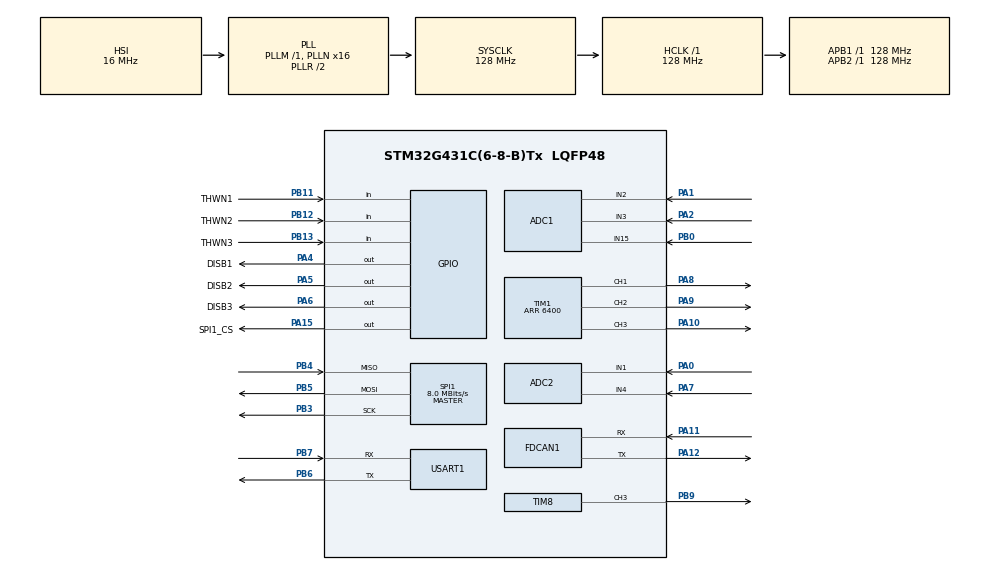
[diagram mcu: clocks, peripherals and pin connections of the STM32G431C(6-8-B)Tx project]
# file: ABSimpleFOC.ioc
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ADC1.EnableInjectedConversion=ENABLE
ADC1.EnableRegularConversion=DISABLE
ADC1.ExternalTrigInjecConv=ADC_EXTERNALTRIGINJEC_T1_TRGO2
ADC1.ExternalTrigInjecConvEdge=ADC_EXTERNALTRIGINJECCONV_EDGE_FALLING
ADC1.InjNumberOfConversion=3
ADC1.InjectedChannel-5\#ChannelInjectedConversion=ADC_CHANNEL_2
ADC1.InjectedChannel-6\#ChannelInjectedConversion=ADC_CHANNEL_15
ADC1.InjectedChannel-7\#ChannelInjectedConversion=ADC_CHANNEL_3
ADC1.InjectedOffsetNumber-5\#ChannelInjectedConversion=ADC_OFFSET_NONE
ADC1.InjectedOffsetNumber-6\#ChannelInjectedConversion=ADC_OFFSET_NONE
ADC1.InjectedOffsetNumber-7\#ChannelInjectedConversion=ADC_OFFSET_NONE
ADC1.InjectedRank-5\#ChannelInjectedConversion=1
ADC1.InjectedRank-6\#ChannelInjectedConversion=2
ADC1.InjectedRank-7\#ChannelInjectedConversion=3
ADC1.InjectedSamplingTime-5\#ChannelInjectedConversion=ADC_SAMPLETIME_24CYCLES_5
ADC1.InjectedSamplingTime-6\#ChannelInjectedConversion=ADC_SAMPLETIME_24CYCLES_5
ADC1.InjectedSamplingTime-7\#ChannelInjectedConversion=ADC_SAMPLETIME_24CYCLES_5
ADC1.Rank1_Channel=ADC_CHANNEL_2
ADC1.Rank2_Channel=ADC_CHANNEL_15
ADC1.Rank3_Channel=ADC_CHANNEL_3
ADC1.master=1
ADC2.EnableInjectedConversion=ENABLE
ADC2.EnableRegularConversion=DISABLE
ADC2.ExternalTrigInjecConv=ADC_EXTERNALTRIGINJEC_T1_TRGO2
ADC2.ExternalTrigInjecConvEdge=ADC_EXTERNALTRIGINJECCONV_EDGE_FALLING
ADC2.InjNumberOfConversion=2
ADC2.InjectedChannel-1\#ChannelInjectedConversion=ADC_CHANNEL_1
ADC2.InjectedChannel-2\#ChannelInjectedConversion=ADC_CHANNEL_4
ADC2.InjectedOffsetNumber-1\#ChannelInjectedConversion=ADC_OFFSET_NONE
ADC2.InjectedOffsetNumber-2\#ChannelInjectedConversion=ADC_OFFSET_NONE
ADC2.InjectedRank-1\#ChannelInjectedConversion=1
ADC2.InjectedRank-2\#ChannelInjectedConversion=2
ADC2.InjectedSamplingTime-1\#ChannelInjectedConversion=ADC_SAMPLETIME_24CYCLES_5
ADC2.InjectedSamplingTime-2\#ChannelInjectedConversion=ADC_SAMPLETIME_24CYCLES_5
ADC2.Rank1_Channel=ADC_CHANNEL_1
ADC2.Rank2_Channel=ADC_CHANNEL_4
Dma.Request0=TIM8_CH3
Dma.TIM8_CH3.0.Direction=DMA_MEMORY_TO_PERIPH
Dma.TIM8_CH3.0.EventEnable=DISABLE
Dma.TIM8_CH3.0.Instance=DMA1_Channel1
Dma.TIM8_CH3.0.MemDataAlignment=DMA_MDATAALIGN_HALFWORD
Dma.TIM8_CH3.0.MemInc=DMA_MINC_ENABLE
Dma.TIM8_CH3.0.Mode=DMA_NORMAL
Dma.TIM8_CH3.0.PeriphDataAlignment=DMA_PDATAALIGN_HALFWORD
Dma.TIM8_CH3.0.PeriphInc=DMA_PINC_DISABLE
Dma.TIM8_CH3.0.Polarity=HAL_DMAMUX_REQ_GEN_RISING
Dma.TIM8_CH3.0.Priority=DMA_PRIORITY_HIGH
Dma.TIM8_CH3.0.RequestNumber=1
Dma.TIM8_CH3.0.SignalID=NONE
Dma.TIM8_CH3.0.SyncEnable=DISABLE
Dma.TIM8_CH3.0.SyncPolarity=HAL_DMAMUX_SYNC_NO_EVENT
Dma.TIM8_CH3.0.SyncRequestNumber=1
Dma.TIM8_CH3.0.SyncSignalID=NONE
FDCAN1.CalculateBaudRateNominal=2666666
FDCAN1.CalculateTimeBitNominal=375
FDCAN1.CalculateTimeQuantumNominal=125.0
Mcu.Family=STM32G4
Mcu.Name=STM32G431C(6-8-B)Tx
Mcu.Package=LQFP48
NVIC.ADC1_2_IRQn=true\:0\:0\:false\:false\:true\:true\:true\:true
NVIC.DMA1_Channel1_IRQn=true\:0\:0\:false\:false\:true\:false\:true\:true
NVIC.PriorityGroup=NVIC_PRIORITYGROUP_4
NVIC.USART1_IRQn=true\:0\:0\:false\:false\:true\:true\:true\:true
PA0.Mode=IN1-Single-Ended
PA0.Signal=ADC2_IN1
PA1.Mode=IN2-Single-Ended
PA1.Signal=ADC1_IN2
PA10.Signal=S_TIM1_CH3
PA11.Mode=FDCAN_Activate
PA11.Signal=FDCAN1_RX
PA12.Mode=FDCAN_Activate
PA12.Signal=FDCAN1_TX
PA13.Mode=Serial_Wire
PA13.Signal=SYS_JTMS-SWDIO
PA14.Mode=Serial_Wire
PA14.Signal=SYS_JTCK-SWCLK
PA15.GPIO_Label=SPI1_CS
PA15.GPIO_Speed=GPIO_SPEED_FREQ_HIGH
PA15.Signal=GPIO_Output
PA2.Mode=IN3-Single-Ended
PA2.Signal=ADC1_IN3
PA4.GPIO_Label=DISB1
PA4.PinState=GPIO_PIN_RESET
PA4.Signal=GPIO_Output
PA5.GPIO_Label=DISB2
PA5.PinState=GPIO_PIN_RESET
PA5.Signal=GPIO_Output
PA6.GPIO_Label=DISB3
PA6.PinState=GPIO_PIN_RESET
PA6.Signal=GPIO_Output
PA7.Mode=IN4-Single-Ended
PA7.Signal=ADC2_IN4
PA8.GPIO_Speed=GPIO_SPEED_FREQ_HIGH
PA8.Signal=S_TIM1_CH1
PA9.Signal=S_TIM1_CH2
PB0.Mode=IN15-Single-Ended
PB0.Signal=ADC1_IN15
PB11.GPIO_Label=THWN1
PB11.GPIO_PuPd=GPIO_PULLUP
PB11.Signal=GPIO_Input
PB12.GPIO_Label=THWN2
PB12.GPIO_PuPd=GPIO_PULLUP
PB12.Signal=GPIO_Input
PB13.GPIO_Label=THWN3
PB13.GPIO_PuPd=GPIO_PULLUP
PB13.Signal=GPIO_Input
PB3.GPIO_Speed=GPIO_SPEED_FREQ_HIGH
PB3.Mode=Full_Duplex_Master
PB3.Signal=SPI1_SCK
PB4.GPIO_Speed=GPIO_SPEED_FREQ_HIGH
PB4.Mode=Full_Duplex_Master
PB4.Signal=SPI1_MISO
PB5.GPIO_Speed=GPIO_SPEED_FREQ_HIGH
PB5.Mode=Full_Duplex_Master
PB5.Signal=SPI1_MOSI
PB6.GPIO_Speed=GPIO_SPEED_FREQ_HIGH
PB6.Mode=Asynchronous
PB6.Signal=USART1_TX
PB7.GPIO_Speed=GPIO_SPEED_FREQ_HIGH
PB7.Mode=Asynchronous
PB7.Signal=USART1_RX
PB9.GPIO_Speed=GPIO_SPEED_FREQ_HIGH
PB9.Signal=S_TIM8_CH3
ProjectManager.HeapSize=0x200
ProjectManager.StackSize=0x400
ProjectManager.TargetToolchain=CMake
RCC.ADC12Freq_Value=128000000
RCC.AHBFreq_Value=128000000
RCC.APB1Freq_Value=128000000
RCC.APB1TimFreq_Value=128000000
RCC.APB2Freq_Value=128000000
RCC.APB2TimFreq_Value=128000000
RCC.CortexFreq_Value=128000000
RCC.EXTERNAL_CLOCK_VALUE=12288000
RCC.HCLKFreq_Value=128000000
RCC.HSE_VALUE=8000000
RCC.HSI48_VALUE=48000000
RCC.HSI_VALUE=16000000
RCC.LSE_VALUE=32768
RCC.PLLN=16
RCC.SYSCLKFreq_VALUE=128000000
RCC.SYSCLKSource=RCC_SYSCLKSOURCE_PLLCLK
RCC.USBFreq_Value=128000000
RCC.VCOOutputFreq_Value=256000000
SH.S_TIM1_CH1.0=TIM1_CH1,PWM Generation1 CH1
SH.S_TIM1_CH2.0=TIM1_CH2,PWM Generation2 CH2
SH.S_TIM1_CH3.0=TIM1_CH3,PWM Generation3 CH3
SH.S_TIM8_CH3.0=TIM8_CH3,PWM Generation3 CH3
SPI1.BaudRatePrescaler=SPI_BAUDRATEPRESCALER_16
SPI1.CLKPhase=SPI_PHASE_2EDGE
SPI1.CLKPolarity=SPI_POLARITY_HIGH
SPI1.CalculateBaudRate=8.0 MBits/s
SPI1.DataSize=SPI_DATASIZE_16BIT
SPI1.Direction=SPI_DIRECTION_2LINES
SPI1.Mode=SPI_MODE_MASTER
SPI1.VirtualType=VM_MASTER
TIM1.Channel-PWM\ Generation1\ CH1=TIM_CHANNEL_1
TIM1.Channel-PWM\ Generation2\ CH2=TIM_CHANNEL_2
TIM1.Channel-PWM\ Generation3\ CH3=TIM_CHANNEL_3
TIM1.Channel-PWM\ Generation4\ No\ Output=TIM_CHANNEL_4
TIM1.CounterMode=TIM_COUNTERMODE_CENTERALIGNED2
TIM1.PeriodNoDither=6400
TIM1.PulseNoDither_4=5568
TIM1.TIM_MasterOutputTrigger=TIM_TRGO_UPDATE
TIM1.TIM_MasterOutputTrigger2=TIM_TRGO2_OC4REF
TIM1.TIM_MasterSlaveMode=TIM_MASTERSLAVEMODE_ENABLE
TIM8.Channel-PWM\ Generation3\ CH3=TIM_CHANNEL_3
TIM8.PeriodNoDither=159
USART1.VirtualMode-Asynchronous=VM_ASYNC
VP_CORDIC_VS_CORDIC.Mode=CORDIC_Activate
VP_SYS_VS_DBSignals.Mode=DisableDeadBatterySignals
VP_SYS_V_VREFBUF.Mode=ExternalMode
VP_TIM1_VS_ClockSourceINT.Mode=Internal
VP_TIM1_VS_no_output4.Mode=PWM Generation4 No Output
VP_TIM8_VS_ClockSourceINT.Mode=Internal
board=custom

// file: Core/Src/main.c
/* USER CODE BEGIN Header */
/**
******************************************************************************
* @file           : main.c
* @brief          : Main program body
******************************************************************************
* @attention
*
* Copyright (c) 2026 STMicroelectronics.
* All rights reserved.
*
* This software is licensed under terms that can be found in the LICENSE file
* in the root directory of this software component.
* If no LICENSE file comes with this software, it is provided AS-IS.
*
******************************************************************************
*/
/* USER CODE END Header */
#include "main.h"
#include "adc.h"
#include "cordic.h"
#include "dma.h"
#include "fdcan.h"
#include "gpio.h"
#include "spi.h"
#include "tim.h"
#include "usart.h"

/* USER CODE BEGIN Includes */
#include "foc.h"       // 引入 FOC 控制头文件
#include "mt6816.h"    // 引入 MT6816 编码器驱动头文件
#include "my_cordic.h" // 引入 CORDIC 模块头文件
#include "ws2812b.h"   // 引入 WS2812B 驱动头文件
#include <math.h>
#include <stdbool.h>
#include <stdint.h>
#include <stdio.h>
#include <stdlib.h>
#include <string.h>

/* USER CODE END Includes */

/* USER CODE BEGIN PD */
#define ADC_VREF 3.3f
#define ADC_RESOLUTION 4096.0f
#define SHUNT_RESISTANCE 0.010f
#define OPAMP_GAIN 20.0f
#define CURRENT_SENSITIVITY (SHUNT_RESISTANCE * OPAMP_GAIN) // 0.200 V/A

#define RX_BUF_SIZE 64

/* USER CODE END PD */

/* USER CODE BEGIN PV */
// 串口命令缓冲区 (异步处理，主循环执行)
static uint8_t rx_byte;
static char rx_line[RX_BUF_SIZE];
static uint8_t rx_idx = 0;
static char rx_cmd_buf[RX_BUF_SIZE];
static volatile bool rx_cmd_ready = false;

// 运动控制模式与目标值 (SimpleFOC 架构)
MotionControlType controller_type = MOTION_TORQUE; // 默认力矩模式
TorqueControlType torque_type = TORQUE_VOLTAGE;    // 默认电压等效模式 (防电流环未校准饱和)
float target = 0.0f; // 当前模式目标值 (M 指令设置)

// 限幅参数
float velocity_limit = 50.0f; // 最大转速 (rad/s)
float voltage_limit = 6.9f;   // 最大相电压 (V)
float current_limit = 2.0f;   // 最大力矩电流 (A)

MT6816_Info_t my_encoder; // 编码器结构体实例
struct FOC_Motor motor = {
    .v_bus = 12.0f,     // 设置母线电压
    .pwm_period = 6400, // 设置 PWM 周期计数值
    .pole_pairs = 7,    // 设置电机极对数
}; // 电机结构体实例

// 电流环 PID
struct PID_Controller pid_id = {
    .integral = 0.0f,
    .Kp = 0.5f,
    .Ki = 100.0f,
    .Kd = 0.0f,
    .integral_limit = 5.0f, // 积分抗饱和限幅
    .out_limit = 4.0f,      // 输出限幅
    .output_ramp = 0.0f,
};
struct PID_Controller pid_iq = {
    .integral = 0.0f,
    .Kp = 0.5f,
    .Ki = 100.0f,
    .Kd = 0.0f,
    .integral_limit = 5.0f, // 积分抗饱和限幅
    .out_limit = 4.0f,      // 输出限幅
    .output_ramp = 0.0f,
};

// 速度环 PID
struct PID_Controller pid_vel = {
    .integral = 0.0f,
    .Kp = 0.2f,
    .Ki = 1.0f,
    .Kd = 0.0f,
    .integral_limit = 2.0f,
    .out_limit = 2.0f, // 输出交轴电流限幅 (A)
    .output_ramp = 0.0f,
};

// 位置环 PID / P控制器
struct PID_Controller pid_angle = {
    .integral = 0.0f,
    .Kp = 20.0f,
    .Ki = 0.0f,
    .Kd = 0.0f,
    .integral_limit = 50.0f,
    .out_limit = 50.0f, // 输出目标速度限幅 (rad/s)
    .output_ramp = 0.0f,
};

// 低通滤波器
struct LowPassFilter lpf_velocity = {
    .Tf = 0.005f,
    .prev_out = 0.0f,
};
struct LowPassFilter lpf_angle = {
    .Tf = 0.0f,
    .prev_out = 0.0f,
};

// 数据监视器配置 (SimpleFOC Studio Monitor)
// 位掩码: Bit6=Target, Bit5=Vq, Bit4=Vd, Bit3=Cq, Bit2=Cd, Bit1=Vel, Bit0=Angle
#define MON_TARGET (1 << 6)
#define MON_VOLT_Q (1 << 5)
#define MON_VOLT_D (1 << 4)
#define MON_CURR_Q (1 << 3)
#define MON_CURR_D (1 << 2)
#define MON_VEL (1 << 1)
#define MON_ANGLE (1 << 0)

int monitor_downsample = 0;            // 0=关闭，>0 表示下采样周期 (ms)
uint8_t monitor_variables = 0b1111111; // 7位变量掩码，默认全选
static uint32_t monitor_timer = 0;

bool isProtecting = false; // 过流保护标志
bool isRunning = false;    // 电机使能状态标志

// ADC 零点偏置值
float adc_offset_u = 0.0f;
float adc_offset_v = 0.0f;
float adc_offset_w = 0.0f;
float adc_offset_bus = 0.0f;

bool inited = false;
bool adc_calibrated = false;
int calibration_count = 0;

float gain_u = 1.0f;
float gain_v = 1.0f;
float gain_w = 1.0f;
float gain_bus = 1.0f;

volatile float debug_Iu, debug_Iv, debug_Iw, debug_Ibus, debug_Vin;
volatile float debug_angle;
volatile uint32_t debug_raw_u, debug_raw_v, debug_raw_w, debug_raw_bus,
    debug_raw_vin;

/* USER CODE END PV */

void SystemClock_Config(void);
/* USER CODE BEGIN PFP */
void FOC_Calib();
char *f2s(float val, int decimals);
void Set_PWM();
void Motion_Control_Loop(float dt);
/* USER CODE END PFP */

int main(void) {

  /* MCU Configuration--------------------------------------------------------*/

  /* Reset of all peripherals, Initializes the Flash interface and the Systick.
   */
  HAL_Init();

  /* Configure the system clock */
  SystemClock_Config();

  /* Initialize all configured peripherals */
  MX_GPIO_Init();
  MX_DMA_Init();
  MX_ADC1_Init();
  MX_FDCAN1_Init();
  MX_SPI1_Init();
  MX_TIM1_Init();
  MX_TIM8_Init();
  MX_USART1_UART_Init();
  MX_CORDIC_Init();
  MX_ADC2_Init();
  /* USER CODE BEGIN 2 */

  printf("\r\nSystem Initialized. Starting main loop...\r\n");
  cordic_init_config(); /* 配置 CORDIC 为 SINE 模式，双输出 */
  __HAL_TIM_MOE_ENABLE(&htim8);
  WS2812_Init();

  // 6. 开启高级定时器总闸
  HAL_TIM_PWM_Start(&htim1, TIM_CHANNEL_1);
  HAL_TIM_PWM_Start(&htim1, TIM_CHANNEL_2);
  HAL_TIM_PWM_Start(&htim1, TIM_CHANNEL_3);
  HAL_TIM_Base_Start(&htim1);

  // 开启三相 MOS 驱动使能 (PA4, PA5, PA6: DISB1/2/3 拉高使能)
  HAL_GPIO_WritePin(GPIOA, DISB1_Pin | DISB2_Pin | DISB3_Pin, GPIO_PIN_SET);

  FOC_Calib(); // 执行 FOC 校准，确定电机旋转方向和零点偏移角

  // 3. 初始化并校准 ADC1 & ADC2
  adc_offset_u = adc_offset_v = adc_offset_w = 2048.0f; // 初始假设零点在中间值
  adc_offset_bus = 0.0f;
  HAL_ADCEx_Calibration_Start(&hadc1, ADC_SINGLE_ENDED);
  HAL_ADCEx_Calibration_Start(&hadc2, ADC_SINGLE_ENDED);
  HAL_ADCEx_InjectedStart(&hadc2); // 从机 ADC2：启动注入转换（响应 TIM1 TRGO2）
  HAL_ADCEx_InjectedStart_IT(&hadc1); // 主机 ADC1：启动注入转换并开启中断

  // 7. 开启串口接收中断（单字节模式）
  HAL_UART_Receive_IT(&huart1, &rx_byte, 1);

  /* USER CODE END 2 */

  /* Infinite loop */
  /* USER CODE BEGIN WHILE */
  while (1) {
    /* 1. 处理串口 Command 交互 (在主循环执行，避免阻塞中断) */
    if (rx_cmd_ready) {
      Commander_Run(rx_cmd_buf);
      rx_cmd_ready = false;
    }

    /* 2. 外环运动控制更新 (按 1ms / 1kHz 周期调度) */
    static uint32_t motion_timer = 0;
    uint32_t now = HAL_GetTick();
    if (now - motion_timer >= 1) {
      float dt = (float)(now - motion_timer) * 0.001f;
      motion_timer = now;
      Motion_Control_Loop(dt);
    }

    /* 3. 数据监视器波形流发送 (SimpleFOC Studio 实时波形 Telemetry Stream) */
    if (monitor_downsample > 0 && monitor_variables != 0) {
      if (now - monitor_timer >= (uint32_t)monitor_downsample) {
        monitor_timer = now;
        bool first = true;
        // Bit 6: Target
        if (monitor_variables & MON_TARGET) {
          if (!first)
            printf("\t");
          printf("%s", f2s(target, 4));
          first = false;
        }
        // Bit 5: Voltage Q
        if (monitor_variables & MON_VOLT_Q) {
          if (!first)
            printf("\t");
          printf("%s", f2s(motor.Vq, 4));
          first = false;
        }
        // Bit 4: Voltage D
        if (monitor_variables & MON_VOLT_D) {
          if (!first)
            printf("\t");
          printf("%s", f2s(motor.Vd, 4));
          first = false;
        }
        // Bit 3: Current Q
        if (monitor_variables & MON_CURR_Q) {
          if (!first)
            printf("\t");
          printf("%s", f2s(motor.Iq, 4));
          first = false;
        }
        // Bit 2: Current D
        if (monitor_variables & MON_CURR_D) {
          if (!first)
            printf("\t");
          printf("%s", f2s(motor.Id, 4));
          first = false;
        }
        // Bit 1: Velocity
        if (monitor_variables & MON_VEL) {
          if (!first)
            printf("\t");
          printf("%s", f2s(motor.velocity, 4));
          first = false;
        }
        // Bit 0: Angle
        if (monitor_variables & MON_ANGLE) {
          if (!first)
            printf("\t");
          printf("%s", f2s(motor.mech_angle, 4));
          first = false;
        }
        if (!first) {
          printf("\r\n");
        }
      }
    }
    /* USER CODE END WHILE */

  }
}

void SystemClock_Config(void) {
  RCC_OscInitTypeDef RCC_OscInitStruct = {0};
  RCC_ClkInitTypeDef RCC_ClkInitStruct = {0};

  /** Configure the main internal regulator output voltage
   */
  HAL_PWREx_ControlVoltageScaling(PWR_REGULATOR_VOLTAGE_SCALE1);

  /** Initializes the RCC Oscillators according to the specified parameters
   * in the RCC_OscInitTypeDef structure.
   */
  RCC_OscInitStruct.OscillatorType = RCC_OSCILLATORTYPE_HSI;
  RCC_OscInitStruct.HSIState = RCC_HSI_ON;
  RCC_OscInitStruct.HSICalibrationValue = RCC_HSICALIBRATION_DEFAULT;
  RCC_OscInitStruct.PLL.PLLState = RCC_PLL_ON;
  RCC_OscInitStruct.PLL.PLLSource = RCC_PLLSOURCE_HSI;
  RCC_OscInitStruct.PLL.PLLM = RCC_PLLM_DIV1;
  RCC_OscInitStruct.PLL.PLLN = 16;
  RCC_OscInitStruct.PLL.PLLP = RCC_PLLP_DIV2;
  RCC_OscInitStruct.PLL.PLLQ = RCC_PLLQ_DIV2;
  RCC_OscInitStruct.PLL.PLLR = RCC_PLLR_DIV2;
  if (HAL_RCC_OscConfig(&RCC_OscInitStruct) != HAL_OK) {
    Error_Handler();
  }

  /** Initializes the CPU, AHB and APB buses clocks
   */
  RCC_ClkInitStruct.ClockType = RCC_CLOCKTYPE_HCLK | RCC_CLOCKTYPE_SYSCLK |
                                RCC_CLOCKTYPE_PCLK1 | RCC_CLOCKTYPE_PCLK2;
  RCC_ClkInitStruct.SYSCLKSource = RCC_SYSCLKSOURCE_PLLCLK;
  RCC_ClkInitStruct.AHBCLKDivider = RCC_SYSCLK_DIV1;
  RCC_ClkInitStruct.APB1CLKDivider = RCC_HCLK_DIV1;
  RCC_ClkInitStruct.APB2CLKDivider = RCC_HCLK_DIV1;

  if (HAL_RCC_ClockConfig(&RCC_ClkInitStruct, FLASH_LATENCY_4) != HAL_OK) {
    Error_Handler();
  }
}

/* USER CODE BEGIN 4 */
void HAL_ADCEx_InjectedConvCpltCallback(ADC_HandleTypeDef *hadc) {
  if (hadc->Instance == ADC1) {
    if (!isRunning) {
      uint32_t half_arr = (uint32_t)(motor.pwm_period / 2);
      __HAL_TIM_SET_COMPARE(&htim1, TIM_CHANNEL_1, half_arr);
      __HAL_TIM_SET_COMPARE(&htim1, TIM_CHANNEL_2, half_arr);
      __HAL_TIM_SET_COMPARE(&htim1, TIM_CHANNEL_3, half_arr);
      return;
    }

    uint32_t raw_v = HAL_ADCEx_InjectedGetValue(
        &hadc1, ADC_INJECTED_RANK_1); // ADC1_IN2 (V相)
    uint32_t raw_bus = HAL_ADCEx_InjectedGetValue(
        &hadc1, ADC_INJECTED_RANK_2); // ADC1_IN15 (Bus)
    uint32_t raw_vin = HAL_ADCEx_InjectedGetValue(
        &hadc1, ADC_INJECTED_RANK_3); // ADC1_IN15 (Bus)
    uint32_t raw_u = HAL_ADCEx_InjectedGetValue(
        &hadc2, ADC_INJECTED_RANK_1); // ADC2_IN1 (U相)
    uint32_t raw_w = HAL_ADCEx_InjectedGetValue(
        &hadc2, ADC_INJECTED_RANK_2); // ADC2_IN4 (W相)}

    debug_raw_u = raw_u;
    debug_raw_v = raw_v;
    debug_raw_w = raw_w;
    debug_raw_bus = raw_bus;
    debug_raw_vin = raw_vin;

    motor.Ia = ((float)raw_u - adc_offset_u) / ADC_RESOLUTION * ADC_VREF /
               (CURRENT_SENSITIVITY * gain_u);
    motor.Ib = ((float)raw_v - adc_offset_v) / ADC_RESOLUTION * ADC_VREF /
               (CURRENT_SENSITIVITY * gain_v);
    motor.Ic = ((float)raw_w - adc_offset_w) / ADC_RESOLUTION * ADC_VREF /
               (CURRENT_SENSITIVITY * gain_w);
    float Ibus_temp = ((float)raw_bus - adc_offset_bus) / ADC_RESOLUTION *
                      ADC_VREF / (CURRENT_SENSITIVITY * gain_bus);
    float Ivin_temp = raw_vin * 0.0f; // 预留 Vin 电压测量，暂未使用

    debug_Iu = motor.Ia;
    debug_Iv = motor.Ib;
    debug_Iw = motor.Ic;
    debug_Ibus = Ibus_temp;
    debug_Vin = Ivin_temp;

    MT6816_ReadAngle(&my_encoder);
    debug_angle = my_encoder.angle_rad * 180.0f;
    motor.mech_angle = my_encoder.angle_rad;
    motor.elec_angle = Normalize_Angle_0_to_2PI(
        motor.direction * motor.mech_angle * motor.pole_pairs -
        motor.zero_offset);

    FOC_Run(&motor, &pid_id, &pid_iq); // 执行 FOC 控制算法

    Set_PWM(); // 更新 PWM 输出占空比
  }
}

void FOC_Calib() {
  // 1. 设置电机为开环模式，施加一个固定的电压向量

  OPENLOOP_Run(&motor, 3.5f, 0.0f); // 施加固定的直轴电压，电角度为 0
  Set_PWM();                        // 更新 PWM 输出占空比
  HAL_Delay(500);
  MT6816_ReadAngle(&my_encoder);
  float rad_start = my_encoder.angle_rad;

  OPENLOOP_Run(&motor, 3.5f, 1.0f); // 施加固定的直轴电压，电角度为 1
  Set_PWM();                        // 更新 PWM 输出占空比
  HAL_Delay(500);
  MT6816_ReadAngle(&my_encoder);
  float rad_end = my_encoder.angle_rad;

  if (rad_end > rad_start)
    motor.direction = 1; // 正转
  else
    motor.direction = -1; // 反转

  OPENLOOP_Run(&motor, 3.5f, 0.0f); // 施加固定的直轴电压，电角度为 0
  Set_PWM();                        // 更新 PWM 输出占空比
  HAL_Delay(500);
  MT6816_ReadAngle(&my_encoder);
  float theta_mech = my_encoder.angle_rad;

  motor.zero_offset =
      Normalize_Angle_0_to_2PI(motor.direction * theta_mech * motor.pole_pairs);
  printf("Calibration complete. Direction: %s, Zero Offset: %s rad\r\n",
         motor.direction > 0 ? "Positive" : "Negative",
         f2s(motor.zero_offset, 4));

  OPENLOOP_Run(&motor, 0.0f, 0.0f);
  Set_PWM();
  HAL_Delay(100);
}

char *f2s(float val, int decimals) {
  static char buffers[8][20];
  static int ring_idx = 0;
  char *buf = buffers[ring_idx];
  ring_idx = (ring_idx + 1) % 8;

  if (isnan(val)) {
    strcpy(buf, "NaN");
    return buf;
  }
  if (isinf(val)) {
    strcpy(buf, val > 0 ? "Inf" : "-Inf");
    return buf;
  }

  char *p = buf;
  if (val < 0.0f) {
    *p++ = '-';
    val = -val;
  }
  float rounding = 0.5f;
  for (int i = 0; i < decimals; i++)
    rounding /= 10.0f;
  val += rounding;

  int ipart = (int)val;
  p += sprintf(p, "%d", ipart);
  if (decimals > 0) {
    *p++ = '.';
    float fpart_f = val - (float)ipart;
    for (int i = 0; i < decimals; i++) {
      fpart_f *= 10.0f;
      int digit = (int)fpart_f;
      if (digit < 0)
        digit = 0;
      if (digit > 9)
        digit = 9;
      *p++ = '0' + digit;
      fpart_f -= (float)digit;
    }
  }
  *p = '\0';
  return buf;
}

void HAL_UART_RxCpltCallback(UART_HandleTypeDef *huart) {
  if (huart->Instance == USART1) {
    if (rx_byte == '\n' || rx_byte == '\r') {
      if (rx_idx > 0) {
        rx_line[rx_idx] = '\0';
        if (!rx_cmd_ready) {
          strncpy(rx_cmd_buf, rx_line, RX_BUF_SIZE - 1);
          rx_cmd_buf[RX_BUF_SIZE - 1] = '\0';
          rx_cmd_ready = true;
        }
        rx_idx = 0;
      }
    } else {
      if (rx_idx < RX_BUF_SIZE - 1) {
        rx_line[rx_idx++] = (char)rx_byte;
      }
    }
    HAL_UART_Receive_IT(&huart1, &rx_byte, 1);
  }
}

void HAL_UART_ErrorCallback(UART_HandleTypeDef *huart) {
  if (huart->Instance == USART1) {
    __HAL_UART_CLEAR_OREFLAG(huart);
    __HAL_UART_CLEAR_NEFLAG(huart);
    __HAL_UART_CLEAR_FEFLAG(huart);
    __HAL_UART_CLEAR_PEFLAG(huart);
    huart->ErrorCode = HAL_UART_ERROR_NONE;
    huart->RxState = HAL_UART_STATE_READY;
    HAL_UART_Receive_IT(&huart1, &rx_byte, 1);
  }
}

void Set_PWM() {
  __HAL_TIM_SET_COMPARE(&htim1, TIM_CHANNEL_1, (uint32_t)motor.Ta);
  __HAL_TIM_SET_COMPARE(&htim1, TIM_CHANNEL_2, (uint32_t)motor.Tb);
  __HAL_TIM_SET_COMPARE(&htim1, TIM_CHANNEL_3, (uint32_t)motor.Tc);
}

void Motion_Control_Loop(float dt) {
  // 1. 估算转速并做一阶低通滤波
  static float prev_angle = 0.0f;
  static bool angle_inited = false;
  if (!angle_inited) {
    prev_angle = motor.mech_angle;
    angle_inited = true;
  }

  float d_angle = motor.mech_angle - prev_angle;
  // 核心修复：系统角度范围为 [0, 2.0)，半圈为 1.0f，一整圈为 2.0f！
  // 必须以 1.0f 和 2.0f 进行跨圈跳变补偿，杜绝在 2.0 边界处产生暴跌/暴冲毛刺！
  if (d_angle > 1.0f)
    d_angle -= 2.0f;
  else if (d_angle < -1.0f)
    d_angle += 2.0f;
  prev_angle = motor.mech_angle;

  // 转换为标准物理角速度 (rad/s)，由于 2.0 代表 2*PI 弧度，故乘以 PI
  float raw_vel = (dt > 0.0f) ? (d_angle * PI / dt) : 0.0f;
  float alpha = lpf_velocity.Tf / (lpf_velocity.Tf + dt);
  motor.velocity = alpha * motor.velocity + (1.0f - alpha) * raw_vel;

  if (!isRunning)
    return;

  // 2. 根据当前控制模式执行外环级联计算
  switch (controller_type) {
  case MOTION_TORQUE:
    // 直接力矩模式：target 视为目标
    motor.target_Id = 0.0f;
    motor.target_Iq = target;
    break;

  case MOTION_VELOCITY: {
    // 速度闭环：target 视为目标速度 (rad/s)
    float vel_err = target - motor.velocity;
    float cmd_iq = PID_Compute(&pid_vel, vel_err);
    motor.target_Id = 0.0f;
    motor.target_Iq = cmd_iq;
    break;
  }

  case MOTION_ANGLE: {
    // 位置闭环伺服：就近最短路径计算误差 (同样以 1.0f/2.0f 归一化)
    float pos_err = target - motor.mech_angle;
    if (pos_err > 1.0f)
      pos_err -= 2.0f;
    else if (pos_err < -1.0f)
      pos_err += 2.0f;

    float target_vel = PID_Compute(&pid_angle, pos_err);
    // 目标速度限幅
    target_vel = fmaxf(fminf(target_vel, velocity_limit), -velocity_limit);
    // 级联速度环 PID
    float vel_err = target_vel - motor.velocity;
    float cmd_iq = PID_Compute(&pid_vel, vel_err);
    motor.target_Id = 0.0f;
    motor.target_Iq = cmd_iq;
    break;
  }

  case MOTION_VELOCITY_OPENLOOP:
  case MOTION_ANGLE_OPENLOOP:
    break;
  }
}

/**
 * @brief  SimpleFOC Studio 协议解析器 (支持带 'M' 前缀及原生命令输入)
 * @param  cmd: 接收到的命令字符串
 */
void Commander_Run(char *cmd) {
  if (cmd == NULL)
    return;

  // 1. 去除前导空白字符
  while (*cmd == ' ' || *cmd == '\t' || *cmd == '\r' || *cmd == '\n') {
    cmd++;
  }
  if (*cmd == '\0')
    return;

  // 2. 去除尾部换行与空白
  int len = (int)strlen(cmd);
  while (len > 0 && (cmd[len - 1] == '\r' || cmd[len - 1] == '\n' ||
                     cmd[len - 1] == ' ' || cmd[len - 1] == '\t')) {
    cmd[--len] = '\0';
  }
  if (len == 0)
    return;

  // 3. 支持大小写 'M' / 'm' 前缀 (若有则跳过，无亦可兼容)
  char *p = cmd;
  if (*p == 'M' || *p == 'm') {
    p++;
  }

  // 4. 目标值设定与查询 (M<val> 或 纯数字 <val>)
  if (*p == '\0' || (*p >= '0' && *p <= '9') || *p == '-' || *p == '+' ||
      *p == '.') {
    if (*p != '\0') {
      target = atof(p);
    }
    printf("%s\r\n", f2s(target, 4));
    return;
  }

  // 5. 运动模式设置与查询 (MC<val> 或 C<val>)
  if (p[0] == 'C' || p[0] == 'c') {
    if (p[1] != '\0') {
      controller_type = (MotionControlType)atoi(&p[1]);
    }
    switch (controller_type) {
    case MOTION_TORQUE:
      printf("Motion:torque\r\n");
      break;
    case MOTION_VELOCITY:
      printf("Motion:vel\r\n");
      break;
    case MOTION_ANGLE:
      printf("Motion:angle\r\n");
      break;
    case MOTION_VELOCITY_OPENLOOP:
      printf("Motion:vel open\r\n");
      break;
    case MOTION_ANGLE_OPENLOOP:
      printf("Motion:angle open\r\n");
      break;
    default:
      printf("Motion:unknown\r\n");
      break;
    }
    return;
  }

  // 6. 扭矩类型设置与查询 (MT<val> 或 T<val>)
  if (p[0] == 'T' || p[0] == 't') {
    if (p[1] != '\0') {
      torque_type = (TorqueControlType)atoi(&p[1]);
    }
    switch (torque_type) {
    case TORQUE_VOLTAGE:
      printf("Torque:volt\r\n");
      break;
    case TORQUE_DC_CURRENT:
      printf("Torque:dc curr\r\n");
      break;
    case TORQUE_FOC_CURRENT:
      printf("Torque:foc curr\r\n");
      break;
    default:
      printf("Torque:volt\r\n");
      break;
    }
    return;
  }

  // 7. 电机使能与状态 (ME<0|1> 或 E<0|1>)
  if (p[0] == 'E' || p[0] == 'e') {
    if (p[1] != '\0') {
      int en = atoi(&p[1]);
      if (en == 1) {
        isRunning = true;
        HAL_GPIO_WritePin(GPIOA, DISB1_Pin | DISB2_Pin | DISB3_Pin, GPIO_PIN_SET);
      } else {
        isRunning = false;
        HAL_GPIO_WritePin(GPIOA, DISB1_Pin | DISB2_Pin | DISB3_Pin, GPIO_PIN_RESET);
        motor.target_Iq = 0.0f;
        motor.target_Id = 0.0f;
        pid_id.integral = 0.0f;
        pid_iq.integral = 0.0f;
        pid_vel.integral = 0.0f;
        pid_angle.integral = 0.0f;
        uint32_t half_arr = (uint32_t)(motor.pwm_period / 2);
        __HAL_TIM_SET_COMPARE(&htim1, TIM_CHANNEL_1, half_arr);
        __HAL_TIM_SET_COMPARE(&htim1, TIM_CHANNEL_2, half_arr);
        __HAL_TIM_SET_COMPARE(&htim1, TIM_CHANNEL_3, half_arr);
      }
    }
    printf("Status:%d\r\n", isRunning ? 1 : 0);
    return;
  }

  // 8. 状态监视查询: MMG0 ~ MMG6 或 MG0 ~ MG6
  if ((p[0] == 'M' || p[0] == 'm') && (p[1] == 'G' || p[1] == 'g')) {
    p += 1; // 偏移到 G...
  }
  if (p[0] == 'G' || p[0] == 'g') {
    int idx = atoi(&p[1]);
    switch (idx) {
    case 0:
      printf("Monitor | target:%s\r\n", f2s(target, 4));
      break;
    case 1:
      printf("Monitor | Vq:%s\r\n", f2s(motor.Vq, 4));
      break;
    case 2:
      printf("Monitor | Vd:%s\r\n", f2s(motor.Vd, 4));
      break;
    case 3:
      printf("Monitor | Cq:%s\r\n", f2s(motor.Iq, 4));
      break;
    case 4:
      printf("Monitor | Cd:%s\r\n", f2s(motor.Id, 4));
      break;
    case 5:
      printf("Monitor | vel:%s\r\n", f2s(motor.velocity, 4));
      break;
    case 6:
      printf("Monitor | angle:%s\r\n", f2s(motor.mech_angle, 4));
      break;
    default:
      break;
    }
    return;
  }

  // 9. 监视器配置: MMD / MD, MMC / MC, MMS / MS
  char *mon_p = NULL;
  if ((p[0] == 'M' || p[0] == 'm') &&
      (p[1] == 'D' || p[1] == 'd' || p[1] == 'C' || p[1] == 'c' ||
       p[1] == 'S' || p[1] == 's')) {
    mon_p = &p[1]; // 跳过前缀 M，指向 'D', 'C', 'S'
  } else if (p[0] == 'D' || p[0] == 'd') {
    mon_p = &p[0];
  } else if (p[0] == 'S' || p[0] == 's') {
    // 排除 MSE (el. offset) 和 MSM (offset)
    if (p[1] != 'E' && p[1] != 'e' && p[1] != 'M' && p[1] != 'm') {
      mon_p = &p[0];
    }
  }

  if (mon_p != NULL) {
    // A. 下采样配置 MD / MMD
    if (mon_p[0] == 'D' || mon_p[0] == 'd') {
      char *arg = &mon_p[1];
      while (*arg == ' ')
        arg++;
      if (*arg != '\0') {
        monitor_downsample = atoi(arg);
      }
      printf("Monitor | downsample:%d\r\n", monitor_downsample);
      return;
    }

    // B. 清空监视变量 MC / MMC
    if (mon_p[0] == 'C' || mon_p[0] == 'c') {
      monitor_variables = 0;
      printf("Monitor | cleared\r\n");
      return;
    }

    // C. 设置或查询监视变量 MS / MMS
    if (mon_p[0] == 'S' || mon_p[0] == 's') {
      char *arg = &mon_p[1];
      while (*arg == ' ')
        arg++;
      if (*arg != '\0') {
        // 设置 7 位二进制掩码: Bit6=Target ... Bit0=Angle
        monitor_variables = 0;
        for (int i = 0; i < 7 && arg[i] != '\0'; i++) {
          if (arg[i] == '1') {
            monitor_variables |= (1 << (6 - i));
          }
        }
        printf("Monitor | set\r\n");
      } else {
        // 查询全部 7 项变量 (SimpleFOC all 格式，供上位机 DRO 显示)
        printf("Monitor | all:%s\t%s\t%s\t%s\t%s\t%s\t%s\r\n", f2s(target, 4),
               f2s(motor.Vq, 4), f2s(motor.Vd, 4), f2s(motor.Iq, 4),
               f2s(motor.Id, 4), f2s(motor.velocity, 4),
               f2s(motor.mech_angle, 4));
      }
      return;
    }
  }

  // 10. 限制 Limits: MLV/LV, MLU/LU, MLC/LC
  if (p[0] == 'L' || p[0] == 'l') {
    if (p[1] == 'V' || p[1] == 'v') {
      if (p[2] != '\0')
        velocity_limit = atof(&p[2]);
      printf("Limits|vel:%s\r\n", f2s(velocity_limit, 4));
      return;
    }
    if (p[1] == 'U' || p[1] == 'u') {
      if (p[2] != '\0') {
        voltage_limit = atof(&p[2]);
        pid_id.out_limit = voltage_limit;
        pid_iq.out_limit = voltage_limit;
      }
      printf("Limits|volt:%s\r\n", f2s(voltage_limit, 4));
      return;
    }
    if (p[1] == 'C' || p[1] == 'c') {
      if (p[2] != '\0') {
        current_limit = atof(&p[2]);
        pid_vel.out_limit = current_limit;
      }
      printf("Limits|curr:%s\r\n", f2s(current_limit, 4));
      return;
    }
  }

  // 11. 速度环调谐: MVP / VP...
  if (p[0] == 'V' || p[0] == 'v') {
    if (p[1] == 'P' || p[1] == 'p') {
      if (p[2] != '\0')
        pid_vel.Kp = atof(&p[2]);
      printf("PID vel|P: %s\r\n", f2s(pid_vel.Kp, 4));
      return;
    }
    if (p[1] == 'I' || p[1] == 'i') {
      if (p[2] != '\0')
        pid_vel.Ki = atof(&p[2]);
      printf("PID vel|I: %s\r\n", f2s(pid_vel.Ki, 4));
      return;
    }
    if (p[1] == 'D' || p[1] == 'd') {
      if (p[2] != '\0')
        pid_vel.Kd = atof(&p[2]);
      printf("PID vel|D: %s\r\n", f2s(pid_vel.Kd, 4));
      return;
    }
    if (p[1] == 'R' || p[1] == 'r') {
      if (p[2] != '\0')
        pid_vel.output_ramp = atof(&p[2]);
      printf("PID vel|ramp:%s\r\n", f2s(pid_vel.output_ramp, 4));
      return;
    }
    if (p[1] == 'L' || p[1] == 'l') {
      if (p[2] != '\0')
        pid_vel.out_limit = atof(&p[2]);
      printf("PID vel|limit:%s\r\n", f2s(pid_vel.out_limit, 4));
      return;
    }
    if (p[1] == 'F' || p[1] == 'f') {
      if (p[2] != '\0')
        lpf_velocity.Tf = atof(&p[2]);
      printf("PID vel|Tf: %s\r\n", f2s(lpf_velocity.Tf, 4));
      return;
    }
  }

  // 12. 角度环调谐: MAP / AP...
  if (p[0] == 'A' || p[0] == 'a') {
    if (p[1] == 'P' || p[1] == 'p') {
      if (p[2] != '\0')
        pid_angle.Kp = atof(&p[2]);
      printf("PID angle|P: %s\r\n", f2s(pid_angle.Kp, 4));
      return;
    }
    if (p[1] == 'I' || p[1] == 'i') {
      if (p[2] != '\0')
        pid_angle.Ki = atof(&p[2]);
      printf("PID angle|I: %s\r\n", f2s(pid_angle.Ki, 4));
      return;
    }
    if (p[1] == 'D' || p[1] == 'd') {
      if (p[2] != '\0')
        pid_angle.Kd = atof(&p[2]);
      printf("PID angle|D: %s\r\n", f2s(pid_angle.Kd, 4));
      return;
    }
    if (p[1] == 'R' || p[1] == 'r') {
      if (p[2] != '\0')
        pid_angle.output_ramp = atof(&p[2]);
      printf("PID angle|ramp:%s\r\n", f2s(pid_angle.output_ramp, 4));
      return;
    }
    if (p[1] == 'L' || p[1] == 'l') {
      if (p[2] != '\0')
        pid_angle.out_limit = atof(&p[2]);
      printf("PID angle|limit:%s\r\n", f2s(pid_angle.out_limit, 4));
      return;
    }
    if (p[1] == 'F' || p[1] == 'f') {
      if (p[2] != '\0')
        lpf_angle.Tf = atof(&p[2]);
      printf("PID angle|Tf: %s\r\n", f2s(lpf_angle.Tf, 4));
      return;
    }
  }

  // 13. 电流 Q 轴调谐: MQP / QP...
  if (p[0] == 'Q' || p[0] == 'q') {
    if (p[1] == 'P' || p[1] == 'p') {
      if (p[2] != '\0')
        pid_iq.Kp = atof(&p[2]);
      printf("PID curr q|P: %s\r\n", f2s(pid_iq.Kp, 4));
      return;
    }
    if (p[1] == 'I' || p[1] == 'i') {
      if (p[2] != '\0')
        pid_iq.Ki = atof(&p[2]);
      printf("PID curr q|I: %s\r\n", f2s(pid_iq.Ki, 4));
      return;
    }
    if (p[1] == 'D' || p[1] == 'd') {
      if (p[2] != '\0')
        pid_iq.Kd = atof(&p[2]);
      printf("PID curr q|D: %s\r\n", f2s(pid_iq.Kd, 4));
      return;
    }
    if (p[1] == 'R' || p[1] == 'r') {
      if (p[2] != '\0')
        pid_iq.output_ramp = atof(&p[2]);
      printf("PID curr q|ramp:%s\r\n", f2s(pid_iq.output_ramp, 4));
      return;
    }
    if (p[1] == 'L' || p[1] == 'l') {
      if (p[2] != '\0')
        pid_iq.out_limit = atof(&p[2]);
      printf("PID curr q|limit:%s\r\n", f2s(pid_iq.out_limit, 4));
      return;
    }
  }

  // 14. 电流 D 轴调谐: MDP / DP...
  if (p[0] == 'D' || p[0] == 'd') {
    if (p[1] == 'P' || p[1] == 'p') {
      if (p[2] != '\0')
        pid_id.Kp = atof(&p[2]);
      printf("PID curr d|P: %s\r\n", f2s(pid_id.Kp, 4));
      return;
    }
    if (p[1] == 'I' || p[1] == 'i') {
      if (p[2] != '\0')
        pid_id.Ki = atof(&p[2]);
      printf("PID curr d|I: %s\r\n", f2s(pid_id.Ki, 4));
      return;
    }
    if (p[1] == 'D' || p[1] == 'd') {
      if (p[2] != '\0')
        pid_id.Kd = atof(&p[2]);
      printf("PID curr d|D: %s\r\n", f2s(pid_id.Kd, 4));
      return;
    }
    if (p[1] == 'R' || p[1] == 'r') {
      if (p[2] != '\0')
        pid_id.output_ramp = atof(&p[2]);
      printf("PID curr d|ramp:%s\r\n", f2s(pid_id.output_ramp, 4));
      return;
    }
    if (p[1] == 'L' || p[1] == 'l') {
      if (p[2] != '\0')
        pid_id.out_limit = atof(&p[2]);
      printf("PID curr d|limit:%s\r\n", f2s(pid_id.out_limit, 4));
      return;
    }
  }

  // 15. 传感器与物理参数: MSE/SE, MSM/SM, MR/R
  if (p[0] == 'S' || p[0] == 's') {
    if (p[1] == 'E' || p[1] == 'e') {
      if (p[2] != '\0')
        motor.zero_offset = atof(&p[2]);
      printf("Sensor |el. offset:%s\r\n", f2s(motor.zero_offset, 4));
      return;
    }
    if (p[1] == 'M' || p[1] == 'm') {
      printf("Sensor |offset:0.0000\r\n");
      return;
    }
  }
  if (p[0] == 'R' || p[0] == 'r') {
    printf("R phase:21.2000\r\n");
    return;
  }
  if (p[0] == 'W' || p[0] == 'w') {
    if (p[1] == 'C' || p[1] == 'c') {
      printf("PWM Mod | center:1.0000\r\n");
      return;
    }
    if (p[1] == 'T' || p[1] == 't') {
      printf("PWM Mod | type:SVPWM\r\n");
      return;
    }
  }

  // 16. 通用帮助与未知指令回显 (避免静默无声让用户以为卡死)
  if (strcmp(cmd, "help") == 0 || strcmp(cmd, "?") == 0) {
    printf("--- SimpleFOC Commander ---\r\n");
    printf("Commands: ME1(enable), ME0(disable), M<val>(target)\r\n");
    printf("MC0(torque), MC1(vel), MC2(angle)\r\n");
    printf("MMD100(monitor 100ms), MMD0(stop)\r\n");
    return;
  }

  // 未知指令提示并回显收到的内容
  printf("Echo: [%s]\r\n", cmd);
}
/* USER CODE END 4 */

void Error_Handler(void) {
  /* USER CODE BEGIN Error_Handler_Debug */
  /* User can add his own implementation to report the HAL error return state
   */
  __disable_irq();
  while (1) {
  }
  /* USER CODE END Error_Handler_Debug */
}
#ifdef USE_FULL_ASSERT
/**
 * @brief  Reports the name of the source file and the source line number
 *         where the assert_param error has occurred.
 * @param  file: pointer to the source file name
 * @param  line: assert_param error line source number
 * @retval None
 */
void assert_failed(uint8_t *file, uint32_t line) {
  /* USER CODE BEGIN 6 */
  /* User can add his own implementation to report the file name and line
    number, ex: printf("Wrong parameters value: file %s on line %d\r\n",
    file, line) */
  /* USER CODE END 6 */
}
#endif /* USE_FULL_ASSERT */
